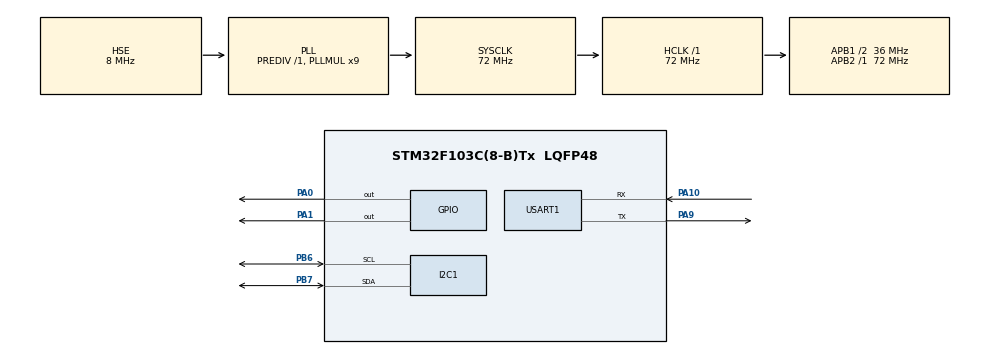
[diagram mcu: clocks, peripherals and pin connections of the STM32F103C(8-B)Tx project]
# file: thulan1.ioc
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Mcu.Family=STM32F1
Mcu.Name=STM32F103C(8-B)Tx
Mcu.Package=LQFP48
NVIC.PriorityGroup=NVIC_PRIORITYGROUP_4
PA0-WKUP.Signal=GPIO_Output
PA1.Signal=GPIO_Output
PA10.Mode=Asynchronous
PA10.Signal=USART1_RX
PA13.Mode=Serial_Wire
PA13.Signal=SYS_JTMS-SWDIO
PA14.Mode=Serial_Wire
PA14.Signal=SYS_JTCK-SWCLK
PA9.Mode=Asynchronous
PA9.Signal=USART1_TX
PB6.Mode=I2C
PB6.Signal=I2C1_SCL
PB7.Mode=I2C
PB7.Signal=I2C1_SDA
PD0-OSC_IN.Mode=HSE-External-Oscillator
PD0-OSC_IN.Signal=RCC_OSC_IN
PD1-OSC_OUT.Mode=HSE-External-Oscillator
PD1-OSC_OUT.Signal=RCC_OSC_OUT
ProjectManager.HeapSize=0x200
ProjectManager.StackSize=0x400
ProjectManager.TargetToolchain=STM32CubeIDE
RCC.AHBFreq_Value=72000000
RCC.APB1CLKDivider=RCC_HCLK_DIV2
RCC.APB1Freq_Value=36000000
RCC.APB1TimFreq_Value=72000000
RCC.APB2Freq_Value=72000000
RCC.APB2TimFreq_Value=72000000
RCC.HCLKFreq_Value=72000000
RCC.PLLMUL=RCC_PLL_MUL9
RCC.PLLSourceVirtual=RCC_PLLSOURCE_HSE
RCC.SYSCLKFreq_VALUE=72000000
RCC.SYSCLKSource=RCC_SYSCLKSOURCE_PLLCLK
RCC.USBFreq_Value=72000000
USART1.VirtualMode=VM_ASYNC
board=custom

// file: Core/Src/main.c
/* USER CODE BEGIN Header */
/**
  ******************************************************************************
  * @file           : main.c
  * @brief          : Smart Data Logger - AHT20 with Buzzer & LED (No Button)
  ******************************************************************************
  */
/* USER CODE END Header */

#include "main.h"
#include <stdio.h>
#include <string.h>

#define AHT20_ADDR     (0x38 << 1) // Địa chỉ I2C AHT20 (0x70)

// Ngưỡng cảnh báo
#define TEMP_THRESHOLD 28.0f       // Ngưỡng nhiệt độ (> 28.0°C)
#define HUMI_THRESHOLD 54.0f       // Ngưỡng độ ẩm (> 54.0%)

// Định nghĩa chân GPIO cảnh báo
#define LED_PORT       GPIOA
#define LED_PIN        GPIO_PIN_0  // PA0 nối LED

#define BUZZER_PORT    GPIOA
#define BUZZER_PIN     GPIO_PIN_1  // PA1 nối Còi chip 5V

I2C_HandleTypeDef hi2c1;
UART_HandleTypeDef huart1;

void SystemClock_Config(void);
static void MX_GPIO_Init(void);
static void MX_I2C1_Init(void);
static void MX_USART1_UART_Init(void);

int main(void)
{
  /* MCU Configuration--------------------------------------------------------*/
  HAL_Init();
  SystemClock_Config();

  /* Initialize all configured peripherals */
  MX_GPIO_Init();
  MX_I2C1_Init();
  MX_USART1_UART_Init();

  /* USER CODE BEGIN 2 */
  char uart_buf[150];
  uint8_t aht20_cmd[3];
  uint8_t aht20_data[6];
  float temperature = 0.0f;
  float humidity = 0.0f;

  // Tiêu đề trang trí
  char *header = "\r\n=================== AHT20 DATA LOGGER & ALARM ===================\r\n";
  HAL_UART_Transmit(&huart1, (uint8_t*)header, strlen(header), 1000);

  // Khởi tạo cảm biến AHT20
  HAL_Delay(40);
  aht20_cmd[0] = 0xBE;
  aht20_cmd[1] = 0x08;
  aht20_cmd[2] = 0x00;
  HAL_I2C_Master_Transmit(&hi2c1, AHT20_ADDR, aht20_cmd, 3, 1000);
  HAL_Delay(10);
  /* USER CODE END 2 */

  /* Infinite loop */
  while (1)
  {

    /* USER CODE BEGIN 3 */
    // 1. Gửi lệnh yêu cầu AHT20 đo
    aht20_cmd[0] = 0xAC;
    aht20_cmd[1] = 0x33;
    aht20_cmd[2] = 0x00;

    if (HAL_I2C_Master_Transmit(&hi2c1, AHT20_ADDR, aht20_cmd, 3, 1000) == HAL_OK)
    {
      HAL_Delay(80); // Chờ 80ms để cảm biến hoàn tất đo

      // 2. Đọc dữ liệu từ AHT20
      if (HAL_I2C_Master_Receive(&hi2c1, AHT20_ADDR, aht20_data, 6, 1000) == HAL_OK)
      {
        if ((aht20_data[0] & 0x80) == 0)
        {
          uint32_t humi_raw = ((uint32_t)aht20_data[1] << 12) | ((uint32_t)aht20_data[2] << 4) | (aht20_data[3] >> 4);
          uint32_t temp_raw = (((uint32_t)(aht20_data[3] & 0x0F)) << 16) | ((uint32_t)aht20_data[4] << 8) | aht20_data[5];

          humidity = ((float)humi_raw * 100.0f) / 1048576.0f;
          temperature = ((float)temp_raw * 200.0f) / 1048576.0f - 50.0f;

          // 3. Tính mốc thời gian (HH:MM:SS)
          uint32_t total_sec = HAL_GetTick() / 1000;
          uint32_t hours   = total_sec / 3600;
          uint32_t minutes = (total_sec % 3600) / 60;
          uint32_t seconds = total_sec % 60;

          // 4. In thông số đo đạc qua UART
          sprintf(uart_buf, "[%02lu:%02lu:%02lu]  |  Nhiet do: %.2f C  |  Do am: %.2f %%\r\n",
                  hours, minutes, seconds, temperature, humidity);
          HAL_UART_Transmit(&huart1, (uint8_t*)uart_buf, strlen(uart_buf), 1000);

          // 5. Kiểm tra điều kiện Cảnh báo (Nhiệt độ > 28°C HOẶC Độ ẩm > 54%)
          if (temperature > TEMP_THRESHOLD || humidity > HUMI_THRESHOLD)
          {
            // In thông báo cảnh báo qua UART
            char alert_buf[150];
            sprintf(alert_buf, "   ==> [CANH BAO] Temp > %.1f C hoac Humi > %.1f %% -> BUZZER & LED FLASH!\r\n",
                    TEMP_THRESHOLD, HUMI_THRESHOLD);
            HAL_UART_Transmit(&huart1, (uint8_t*)alert_buf, strlen(alert_buf), 1000);

            // Còi và LED cùng nhấp nháy 3 lần (Bật 150ms, Tắt 150ms -> Tổng 900ms)
            for (int i = 0; i < 3; i++)
            {
              HAL_GPIO_WritePin(LED_PORT, LED_PIN, GPIO_PIN_SET);         // Bật LED
              HAL_GPIO_WritePin(BUZZER_PORT, BUZZER_PIN, GPIO_PIN_SET);   // Bật Còi
              HAL_Delay(150);

              HAL_GPIO_WritePin(LED_PORT, LED_PIN, GPIO_PIN_RESET);       // Tắt LED
              HAL_GPIO_WritePin(BUZZER_PORT, BUZZER_PIN, GPIO_PIN_RESET); // Tắt Còi
              HAL_Delay(150);
            }

            // Nghỉ nốt 4100ms cho đủ chu kỳ 5 giây
            HAL_Delay(4100);
          }
          else
          {
            // Tắt còi & LED khi thông số bình thường
            HAL_GPIO_WritePin(LED_PORT, LED_PIN, GPIO_PIN_RESET);
            HAL_GPIO_WritePin(BUZZER_PORT, BUZZER_PIN, GPIO_PIN_RESET);

            // Chờ đủ 5 giây cho chu kỳ đo bình thường
            HAL_Delay(5000);
          }
        }
      }
      else
      {
        HAL_I2C_DeInit(&hi2c1);
        HAL_Delay(10);
        HAL_I2C_Init(&hi2c1);
        HAL_Delay(4980);
      }
    }
    else
    {
      HAL_I2C_DeInit(&hi2c1);
      HAL_Delay(10);
      HAL_I2C_Init(&hi2c1);
      HAL_Delay(4980);
    }
  }
  /* USER CODE END 3 */
}

void SystemClock_Config(void)
{
  RCC_OscInitTypeDef RCC_OscInitStruct = {0};
  RCC_ClkInitTypeDef RCC_ClkInitStruct = {0};

  RCC_OscInitStruct.OscillatorType = RCC_OSCILLATORTYPE_HSE;
  RCC_OscInitStruct.HSEState = RCC_HSE_ON;
  RCC_OscInitStruct.HSEPredivValue = RCC_HSE_PREDIV_DIV1;
  RCC_OscInitStruct.HSIState = RCC_HSI_ON;
  RCC_OscInitStruct.PLL.PLLState = RCC_PLL_ON;
  RCC_OscInitStruct.PLL.PLLSource = RCC_PLLSOURCE_HSE;
  RCC_OscInitStruct.PLL.PLLMUL = RCC_PLL_MUL9;
  if (HAL_RCC_OscConfig(&RCC_OscInitStruct) != HAL_OK)
  {
    Error_Handler();
  }

  RCC_ClkInitStruct.ClockType = RCC_CLOCKTYPE_HCLK|RCC_CLOCKTYPE_SYSCLK
                              |RCC_CLOCKTYPE_PCLK1|RCC_CLOCKTYPE_PCLK2;
  RCC_ClkInitStruct.SYSCLKSource = RCC_SYSCLKSOURCE_PLLCLK;
  RCC_ClkInitStruct.AHBCLKDivider = RCC_SYSCLK_DIV1;
  RCC_ClkInitStruct.APB1CLKDivider = RCC_HCLK_DIV2;
  RCC_ClkInitStruct.APB2CLKDivider = RCC_HCLK_DIV1;

  if (HAL_RCC_ClockConfig(&RCC_ClkInitStruct, FLASH_LATENCY_2) != HAL_OK)
  {
    Error_Handler();
  }
}

static void MX_I2C1_Init(void)
{
  hi2c1.Instance = I2C1;
  hi2c1.Init.ClockSpeed = 100000;
  hi2c1.Init.DutyCycle = I2C_DUTYCYCLE_2;
  hi2c1.Init.OwnAddress1 = 0;
  hi2c1.Init.AddressingMode = I2C_ADDRESSINGMODE_7BIT;
  hi2c1.Init.DualAddressMode = I2C_DUALADDRESS_DISABLE;
  hi2c1.Init.OwnAddress2 = 0;
  hi2c1.Init.GeneralCallMode = I2C_GENERALCALL_DISABLE;
  hi2c1.Init.NoStretchMode = I2C_NOSTRETCH_DISABLE;
  if (HAL_I2C_Init(&hi2c1) != HAL_OK)
  {
    Error_Handler();
  }
}

static void MX_USART1_UART_Init(void)
{
  huart1.Instance = USART1;
  huart1.Init.BaudRate = 115200;
  huart1.Init.WordLength = UART_WORDLENGTH_8B;
  huart1.Init.StopBits = UART_STOPBITS_1;
  huart1.Init.Parity = UART_PARITY_NONE;
  huart1.Init.Mode = UART_MODE_TX_RX;
  huart1.Init.HwFlowCtl = UART_HWCONTROL_NONE;
  huart1.Init.OverSampling = UART_OVERSAMPLING_16;
  if (HAL_UART_Init(&huart1) != HAL_OK)
  {
    Error_Handler();
  }
}

static void MX_GPIO_Init(void)
{
  GPIO_InitTypeDef GPIO_InitStruct = {0};

  /* GPIO Ports Clock Enable */
  __HAL_RCC_GPIOD_CLK_ENABLE();
  __HAL_RCC_GPIOA_CLK_ENABLE();
  __HAL_RCC_GPIOB_CLK_ENABLE();

  /* Cấu hình mức điện áp ban đầu cho PA0 (LED) và PA1 (Buzzer) là LOW */
  HAL_GPIO_WritePin(GPIOA, GPIO_PIN_0 | GPIO_PIN_1, GPIO_PIN_RESET);

  /* Cấu hình chân PA0 và PA1 làm Output Push-Pull */
  GPIO_InitStruct.Pin = GPIO_PIN_0 | GPIO_PIN_1;
  GPIO_InitStruct.Mode = GPIO_MODE_OUTPUT_PP;
  GPIO_InitStruct.Pull = GPIO_NOPULL;
  GPIO_InitStruct.Speed = GPIO_SPEED_FREQ_LOW;
  HAL_GPIO_Init(GPIOA, &GPIO_InitStruct);
}

void Error_Handler(void)
{
  __disable_irq();
  while (1)
  {
  }
}
